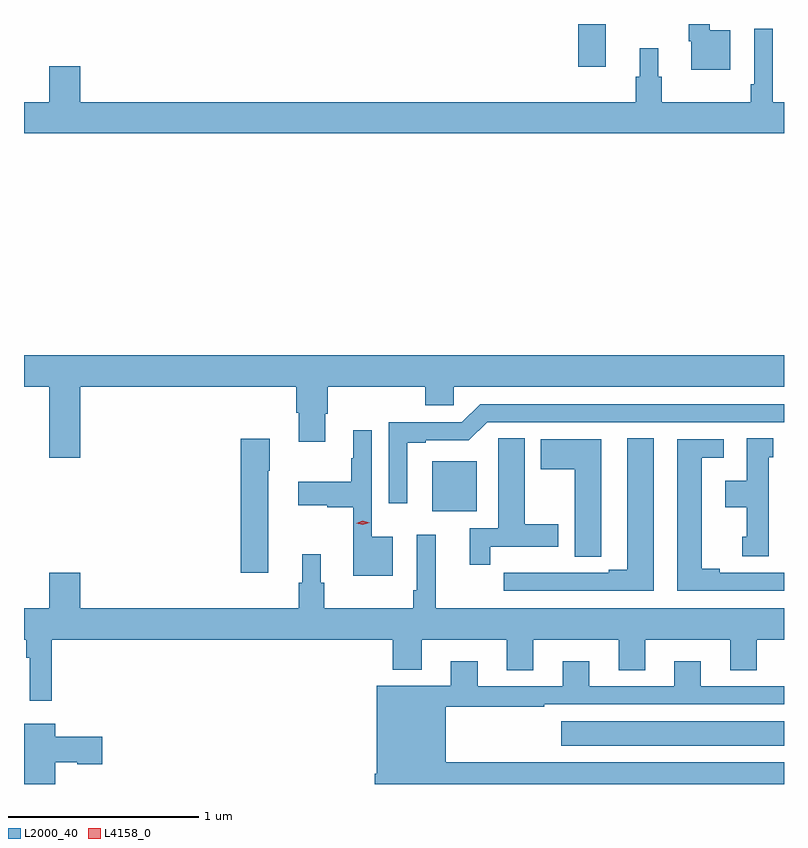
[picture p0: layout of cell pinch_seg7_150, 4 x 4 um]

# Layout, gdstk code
import gdstk
lib = gdstk.Library(unit=1e-6, precision=1e-09)
def R(c, l, rs):  # rectangles x0, y0, x1, y1
    for r in rs: c.add(gdstk.rectangle(r[:2], r[2:], *l))
def P(c, l, *ps):  # polygons
    for p in ps: c.add(gdstk.Polygon(p, *l))
L2000_40 = (2000, 40)
L4158_0 = (4158, 0)

pinch_seg7_150 = lib.new_cell('pinch_seg7_150')
R(pinch_seg7_150, L2000_40, [(1042.827,1005.386,1044,1005.514), (1042.148,1006.619,1042.384,1006.882), (1042.916,1008.96,1043.062,1009.184)])
P(pinch_seg7_150, L2000_40, [(1043.716,1009.15),(1043.61,1009.15),(1043.61,1009.184),(1043.499,1009.184),(1043.499,1009.094),(1043.511,1009.094),(1043.511,1008.944),(1043.716,1008.944)],
  [(1044,1008.772),(1043.942,1008.772),(1043.942,1009.159),(1043.844,1009.159),(1043.844,1008.868),(1043.824,1008.868),(1043.824,1008.772),(1043.357,1008.772),(1043.357,1008.906),(1043.338,1008.906),(1043.338,1009.057),(1043.24,1009.057),(1043.24,1008.906),(1043.221,1008.906),(1043.221,1008.772),(1040.296,1008.772),(1040.296,1008.961),(1040.132,1008.961),(1040.132,1008.772),(1040,1008.772),(1040,1008.608),(1044,1008.608)],
  [(1040.296,1007.276),(1041.434,1007.276),(1041.434,1007.139),(1041.446,1007.139),(1041.446,1006.986),(1041.586,1006.986),(1041.586,1007.134),(1041.599,1007.134),(1041.599,1007.276),(1042.112,1007.276),(1042.112,1007.178),(1042.263,1007.178),(1042.263,1007.276),(1044,1007.276),(1044,1007.44),(1040,1007.44),(1040,1007.276),(1040.132,1007.276),(1040.132,1006.902),(1040.296,1006.902)],
  [(1042.018,1006.98),(1042.114,1006.98),(1042.114,1006.992),(1042.341,1006.992),(1042.437,1007.088),(1044,1007.088),(1044,1007.184),(1042.401,1007.184),(1042.305,1007.088),(1041.921,1007.088),(1041.921,1006.662),(1042.018,1006.662)],
  [(1041.94,1006.486),(1041.831,1006.486),(1041.831,1007.047),(1041.734,1007.047),(1041.734,1006.898),(1041.723,1006.898),(1041.723,1006.774),(1041.444,1006.774),(1041.444,1006.652),(1041.597,1006.652),(1041.597,1006.64),(1041.734,1006.64),(1041.734,1006.28),(1041.94,1006.28)],
  [(1043.92,1006.905),(1043.944,1006.905),(1043.944,1007.003),(1043.804,1007.003),(1043.804,1006.78),(1043.69,1006.78),(1043.69,1006.64),(1043.804,1006.64),(1043.804,1006.485),(1043.78,1006.485),(1043.78,1006.383),(1043.92,1006.383)],
  [(1042.454,1006.434),(1042.813,1006.434),(1042.813,1006.551),(1042.636,1006.551),(1042.636,1007.003),(1042.497,1007.003),(1042.497,1006.892),(1042.496,1006.892),(1042.496,1006.53),(1042.346,1006.53),(1042.346,1006.338),(1042.454,1006.338)],
  [(1043.314,1007.003),(1043.174,1007.003),(1043.174,1006.311),(1043.078,1006.311),(1043.078,1006.296),(1042.802,1006.296),(1042.802,1006.297),(1042.636,1006.297),(1042.636,1006.296),(1042.524,1006.296),(1042.524,1006.2),(1043.314,1006.2)],
  [(1041.286,1006.832),(1041.294,1006.832),(1041.294,1007.002),(1041.14,1007.002),(1041.14,1006.296),(1041.286,1006.296)],
  [(1043.037,1006.489),(1043.038,1006.489),(1043.038,1006.999),(1042.721,1006.999),(1042.721,1006.84),(1042.898,1006.84),(1042.898,1006.381),(1043.037,1006.381)],
  [(1044,1006.296),(1043.662,1006.296),(1043.662,1006.316),(1043.566,1006.316),(1043.566,1006.902),(1043.683,1006.902),(1043.683,1006.998),(1043.438,1006.998),(1043.438,1006.2),(1044,1006.2)],
  [(1040.147,1005.944),(1041.941,1005.944),(1041.941,1005.785),(1042.093,1005.785),(1042.093,1005.944),(1042.541,1005.944),(1042.541,1005.784),(1042.681,1005.784),(1042.681,1005.944),(1043.129,1005.944),(1043.129,1005.784),(1043.269,1005.784),(1043.269,1005.944),(1043.717,1005.944),(1043.717,1005.784),(1043.857,1005.784),(1043.857,1005.944),(1044,1005.944),(1044,1006.108),(1042.166,1006.108),(1042.166,1006.495),(1042.068,1006.495),(1042.068,1006.204),(1042.048,1006.204),(1042.048,1006.108),(1041.581,1006.108),(1041.581,1006.242),(1041.562,1006.242),(1041.562,1006.393),(1041.464,1006.393),(1041.464,1006.242),(1041.445,1006.242),(1041.445,1006.108),(1040.296,1006.108),(1040.296,1006.297),(1040.132,1006.297),(1040.132,1006.108),(1040,1006.108),(1040,1005.944),(1040.011,1005.944),(1040.011,1005.848),(1040.031,1005.848),(1040.031,1005.621),(1040.147,1005.621)],
  [(1044,1005.298),(1042.219,1005.298),(1042.219,1005.591),(1042.739,1005.591),(1042.739,1005.603),(1044,1005.603),(1044,1005.699),(1043.563,1005.699),(1043.563,1005.829),(1043.423,1005.829),(1043.423,1005.699),(1042.975,1005.699),(1042.975,1005.829),(1042.835,1005.829),(1042.835,1005.699),(1042.387,1005.699),(1042.387,1005.829),(1042.247,1005.829),(1042.247,1005.7),(1041.857,1005.7),(1041.857,1005.238),(1041.845,1005.238),(1041.845,1005.184),(1044,1005.184)],
  [(1040.164,1005.299),(1040.28,1005.299),(1040.28,1005.287),(1040.413,1005.287),(1040.413,1005.434),(1040.164,1005.434),(1040.164,1005.502),(1040,1005.502),(1040,1005.184),(1040.164,1005.184)])
P(pinch_seg7_150, L4158_0, [(1041.784,1006.549),(1041.748,1006.557),(1041.748,1006.557),(1041.748,1006.557),(1041.783,1006.569),(1041.819,1006.56),(1041.819,1006.56),(1041.819,1006.56)])

lib.write_gds('pinch_seg7_150.gds')
